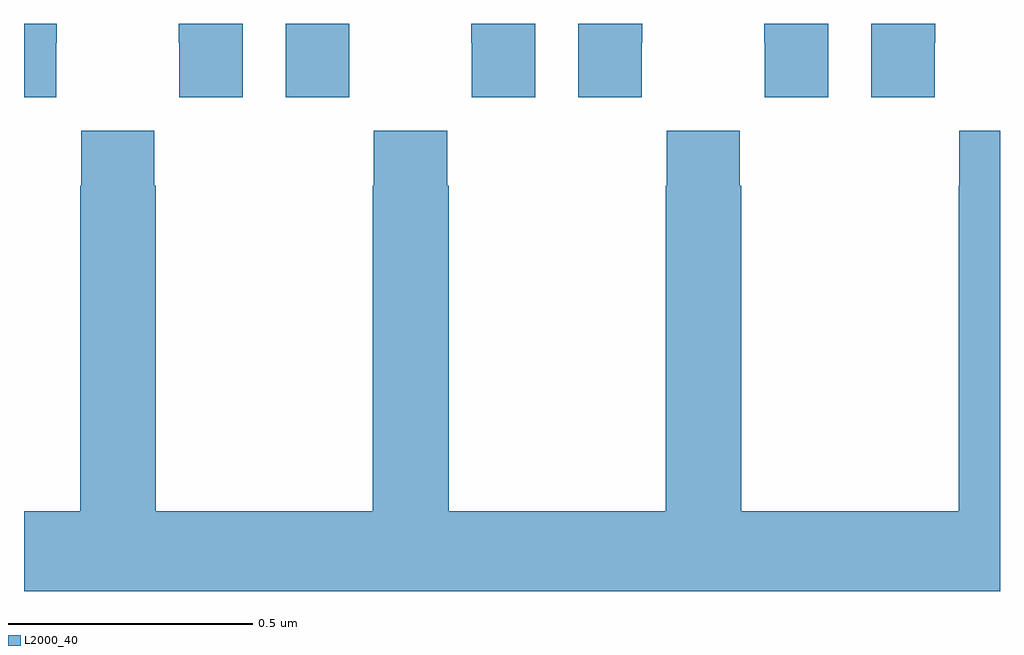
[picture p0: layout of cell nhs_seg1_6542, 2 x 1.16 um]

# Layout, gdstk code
import gdstk
lib = gdstk.Library(unit=1e-6, precision=1e-09)
def P(c, l, *ps):  # polygons
    for p in ps: c.add(gdstk.Polygon(p, *l))
L2000_40 = (2000, 40)

nhs_seg1_6542 = lib.new_cell('nhs_seg1_6542')
P(nhs_seg1_6542, L2000_40, [(192.066,582.16),(192.067,582.16),(192.067,582.199),(192,582.199),(192,582.048),(192.066,582.048)],
  [(192.448,582.199),(192.317,582.199),(192.317,582.16),(192.318,582.16),(192.318,582.048),(192.448,582.048)],
  [(192.666,582.16),(192.667,582.16),(192.667,582.199),(192.536,582.199),(192.536,582.048),(192.666,582.048)],
  [(193.048,582.199),(192.917,582.199),(192.917,582.16),(192.918,582.16),(192.918,582.048),(193.048,582.048)],
  [(193.266,582.16),(193.267,582.16),(193.267,582.199),(193.136,582.199),(193.136,582.048),(193.266,582.048)],
  [(193.648,582.199),(193.517,582.199),(193.517,582.16),(193.518,582.16),(193.518,582.048),(193.648,582.048)],
  [(193.866,582.16),(193.867,582.16),(193.867,582.199),(193.736,582.199),(193.736,582.048),(193.866,582.048)],
  [(194,581.98),(193.917,581.98),(193.917,581.867),(193.915,581.867),(193.915,581.2),(193.47,581.2),(193.47,581.867),(193.467,581.867),(193.467,581.98),(193.317,581.98),(193.317,581.867),(193.315,581.867),(193.315,581.2),(192.87,581.2),(192.87,581.867),(192.867,581.867),(192.867,581.98),(192.717,581.98),(192.717,581.867),(192.715,581.867),(192.715,581.2),(192.27,581.2),(192.27,581.867),(192.267,581.867),(192.267,581.98),(192.117,581.98),(192.117,581.867),(192.115,581.867),(192.115,581.2),(192,581.2),(192,581.036),(194,581.036)])

lib.write_gds('nhs_seg1_6542.gds')
